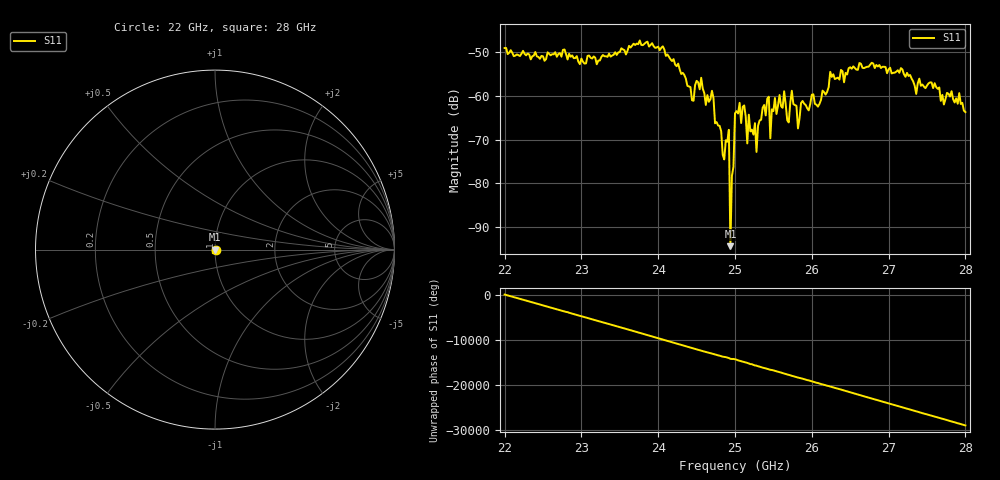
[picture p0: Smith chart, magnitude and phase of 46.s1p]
#  HZ  S  RI  R  50.00
! Rohde & Schwarz ZVA40 4Ports - Version 3.90 - 1145.1110k42 SN: 100403
! Date: 2023-10-04 08:49:22
! Measurement: S12
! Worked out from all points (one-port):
!   301 points, 22 GHz to 28 GHz, reference 50 ohm
!   lowest |S11| = -94.3 dB at 24.94 GHz (marker M1), VSWR 1.00, Z = 50 - j0.00096 ohm
!   |S11| at or under -10 dB: start of sweep to end of sweep
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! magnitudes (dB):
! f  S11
! 22 GHz  -49.1
! 22.76 GHz  -49.5
! 23.5 GHz  -50.0
! 24.26 GHz  -52.6
! 24.44 GHz  -61.0
! 24.7 GHz  -58.8
! 24.86 GHz  -74.5
! 24.92 GHz  -67.7
! 24.94 GHz  -94.3
! 24.98 GHz  -76.2
! 25 GHz  -64.0
! 25.12 GHz  -62.2
! 25.16 GHz  -70.8
! 25.18 GHz  -64.3
! 25.26 GHz  -66.2
! 25.28 GHz  -72.8
! 25.42 GHz  -60.6
! 25.44 GHz  -60.2
! 25.46 GHz  -69.7
! 25.52 GHz  -60.5
! 25.64 GHz  -58.9
! 25.7 GHz  -66.1
! 25.76 GHz  -61.9
! 25.82 GHz  -67.4
! 25.88 GHz  -61.2
! 26.5 GHz  -53.5
! 27.26 GHz  -55.4
! 28 GHz  -63.7
